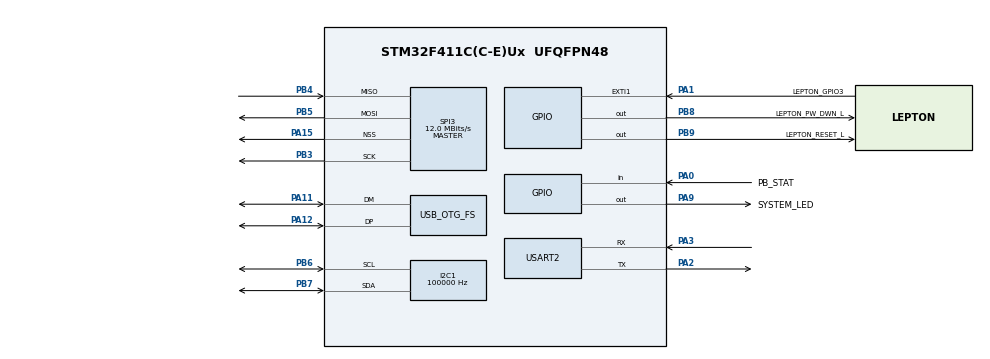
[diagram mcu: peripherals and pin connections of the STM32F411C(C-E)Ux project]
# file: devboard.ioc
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Dma.MEMTOMEM.0.Direction=DMA_MEMORY_TO_MEMORY
Dma.MEMTOMEM.0.FIFOMode=DMA_FIFOMODE_ENABLE
Dma.MEMTOMEM.0.FIFOThreshold=DMA_FIFO_THRESHOLD_FULL
Dma.MEMTOMEM.0.Instance=DMA2_Stream0
Dma.MEMTOMEM.0.MemBurst=DMA_MBURST_SINGLE
Dma.MEMTOMEM.0.MemDataAlignment=DMA_MDATAALIGN_HALFWORD
Dma.MEMTOMEM.0.MemInc=DMA_MINC_ENABLE
Dma.MEMTOMEM.0.Mode=DMA_NORMAL
Dma.MEMTOMEM.0.PeriphBurst=DMA_PBURST_SINGLE
Dma.MEMTOMEM.0.PeriphDataAlignment=DMA_PDATAALIGN_HALFWORD
Dma.MEMTOMEM.0.PeriphInc=DMA_PINC_ENABLE
Dma.MEMTOMEM.0.Priority=DMA_PRIORITY_MEDIUM
Dma.Request0=MEMTOMEM
Dma.Request1=SPI3_RX
Dma.Request2=SPI3_TX
Dma.SPI3_RX.1.Direction=DMA_PERIPH_TO_MEMORY
Dma.SPI3_RX.1.FIFOMode=DMA_FIFOMODE_DISABLE
Dma.SPI3_RX.1.Instance=DMA1_Stream0
Dma.SPI3_RX.1.MemDataAlignment=DMA_MDATAALIGN_HALFWORD
Dma.SPI3_RX.1.MemInc=DMA_MINC_ENABLE
Dma.SPI3_RX.1.Mode=DMA_NORMAL
Dma.SPI3_RX.1.PeriphDataAlignment=DMA_PDATAALIGN_HALFWORD
Dma.SPI3_RX.1.PeriphInc=DMA_PINC_DISABLE
Dma.SPI3_RX.1.Priority=DMA_PRIORITY_VERY_HIGH
Dma.SPI3_TX.2.Direction=DMA_MEMORY_TO_PERIPH
Dma.SPI3_TX.2.FIFOMode=DMA_FIFOMODE_DISABLE
Dma.SPI3_TX.2.Instance=DMA1_Stream5
Dma.SPI3_TX.2.MemDataAlignment=DMA_MDATAALIGN_HALFWORD
Dma.SPI3_TX.2.MemInc=DMA_MINC_ENABLE
Dma.SPI3_TX.2.Mode=DMA_NORMAL
Dma.SPI3_TX.2.PeriphDataAlignment=DMA_PDATAALIGN_HALFWORD
Dma.SPI3_TX.2.PeriphInc=DMA_PINC_DISABLE
Dma.SPI3_TX.2.Priority=DMA_PRIORITY_VERY_HIGH
I2C1.ClockSpeed=100000
I2C1.I2C_Mode=I2C_Fast
Mcu.Family=STM32F4
Mcu.Name=STM32F411C(C-E)Ux
Mcu.Package=UFQFPN48
NVIC.DMA1_Stream0_IRQn=true\:2\:0\:true\:false\:true\:false
NVIC.DMA1_Stream5_IRQn=true\:2\:0\:true\:false\:true\:false
NVIC.DMA2_Stream0_IRQn=true\:2\:0\:true\:false\:true\:true
NVIC.EXTI1_IRQn=true\:0\:0\:false\:false\:true\:true
NVIC.OTG_FS_IRQn=true\:0\:0\:false\:false\:true\:true
NVIC.PriorityGroup=NVIC_PRIORITYGROUP_4
PA0-WKUP.GPIO_Label=PB_STAT
PA0-WKUP.Signal=GPIO_Input
PA1.GPIO_Label=LEPTON_GPIO3
PA1.Signal=GPXTI1
PA11.Mode=Device_Only
PA11.Signal=USB_OTG_FS_DM
PA12.Mode=Device_Only
PA12.Signal=USB_OTG_FS_DP
PA13.Mode=Serial_Wire
PA13.Signal=SYS_JTMS-SWDIO
PA14.Mode=Serial_Wire
PA14.Signal=SYS_JTCK-SWCLK
PA15.Mode=NSS_Signal_Hard_Output
PA15.Signal=SPI3_NSS
PA2.Mode=Asynchronous
PA2.Signal=USART2_TX
PA3.Mode=Asynchronous
PA3.Signal=USART2_RX
PA9.GPIO_Label=SYSTEM_LED
PA9.Signal=GPIO_Output
PB3.Mode=Full_Duplex_Master
PB3.Signal=SPI3_SCK
PB4.Mode=Full_Duplex_Master
PB4.Signal=SPI3_MISO
PB5.Mode=Full_Duplex_Master
PB5.Signal=SPI3_MOSI
PB6.Mode=I2C
PB6.Signal=I2C1_SCL
PB7.Mode=I2C
PB7.Signal=I2C1_SDA
PB8.GPIO_Label=LEPTON_PW_DWN_L
PB8.Signal=GPIO_Output
PB9.GPIO_Label=LEPTON_RESET_L
PB9.Signal=GPIO_Output
PC14-OSC32_IN.Mode=LSE-External-Oscillator
PC14-OSC32_IN.Signal=RCC_OSC32_IN
PC15-OSC32_OUT.Mode=LSE-External-Oscillator
PC15-OSC32_OUT.Signal=RCC_OSC32_OUT
PH0\ -\ OSC_IN.Mode=HSE-External-Oscillator
PH0\ -\ OSC_IN.Signal=RCC_OSC_IN
PH1\ -\ OSC_OUT.Mode=HSE-External-Oscillator
PH1\ -\ OSC_OUT.Signal=RCC_OSC_OUT
ProjectManager.HeapSize=0x200
ProjectManager.StackSize=0x400
ProjectManager.TargetToolchain=SW4STM32
RCC.48MHZClocksFreq_Value=48000000
RCC.AHBFreq_Value=96000000
RCC.APB1CLKDivider=RCC_HCLK_DIV4
RCC.APB1Freq_Value=24000000
RCC.APB1TimFreq_Value=48000000
RCC.APB2Freq_Value=96000000
RCC.APB2TimFreq_Value=96000000
RCC.CortexFreq_Value=96000000
RCC.EnbaleCSS=true
RCC.HCLKFreq_Value=96000000
RCC.HSE_VALUE=16000000
RCC.HSI_VALUE=16000000
RCC.PLLM=8
RCC.PLLN=96
RCC.SYSCLKFreq_VALUE=96000000
RCC.SYSCLKSource=RCC_SYSCLKSOURCE_PLLCLK
RCC.VCOOutputFreq_Value=192000000
RCC.VDD_VALUE=2.8
SPI3.CLKPhase=SPI_PHASE_2EDGE
SPI3.CLKPolarity=SPI_POLARITY_HIGH
SPI3.CalculateBaudRate=12.0 MBits/s
SPI3.DataSize=SPI_DATASIZE_16BIT
SPI3.Direction=SPI_DIRECTION_2LINES
SPI3.Mode=SPI_MODE_MASTER
SPI3.VirtualNSS=VM_NSSHARD
SPI3.VirtualType=VM_MASTER
USART2.VirtualMode=VM_ASYNC
USB_OTG_FS.VirtualMode=Device_Only
VP_CRC_VS_CRC.Mode=CRC_Activate
board=devboard

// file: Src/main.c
/**
  ******************************************************************************
  * File Name          : main.c
  * Description        : Main program body
  ******************************************************************************
  *
  * COPYRIGHT(c) 2019 STMicroelectronics
  *
  * Redistribution and use in source and binary forms, with or without modification,
  * are permitted provided that the following conditions are met:
  *   1. Redistributions of source code must retain the above copyright notice,
  *      this list of conditions and the following disclaimer.
  *   2. Redistributions in binary form must reproduce the above copyright notice,
  *      this list of conditions and the following disclaimer in the documentation
  *      and/or other materials provided with the distribution.
  *   3. Neither the name of STMicroelectronics nor the names of its contributors
  *      may be used to endorse or promote products derived from this software
  *      without specific prior written permission.
  *
  * THIS SOFTWARE IS PROVIDED BY THE COPYRIGHT HOLDERS AND CONTRIBUTORS "AS IS"
  * AND ANY EXPRESS OR IMPLIED WARRANTIES, INCLUDING, BUT NOT LIMITED TO, THE
  * IMPLIED WARRANTIES OF MERCHANTABILITY AND FITNESS FOR A PARTICULAR PURPOSE ARE
  * DISCLAIMED. IN NO EVENT SHALL THE COPYRIGHT HOLDER OR CONTRIBUTORS BE LIABLE
  * FOR ANY DIRECT, INDIRECT, INCIDENTAL, SPECIAL, EXEMPLARY, OR CONSEQUENTIAL
  * DAMAGES (INCLUDING, BUT NOT LIMITED TO, PROCUREMENT OF SUBSTITUTE GOODS OR
  * SERVICES; LOSS OF USE, DATA, OR PROFITS; OR BUSINESS INTERRUPTION) HOWEVER
  * CAUSED AND ON ANY THEORY OF LIABILITY, WHETHER IN CONTRACT, STRICT LIABILITY,
  * OR TORT (INCLUDING NEGLIGENCE OR OTHERWISE) ARISING IN ANY WAY OUT OF THE USE
  * OF THIS SOFTWARE, EVEN IF ADVISED OF THE POSSIBILITY OF SUCH DAMAGE.
  *
  ******************************************************************************
  */
#include "stm32f4xx_hal.h"
#include "usb_device.h"

/* USER CODE BEGIN Includes */

#include <stdint.h>
#include "pt.h"
#include "lepton.h"
#include "lepton_i2c.h"
//#include "tmp007_i2c.h"
#include "usbd_uvc.h"
#include "usbd_uvc_if.h"
DMA_HandleTypeDef hdma_memtomem_dma2_stream0;

#include "tasks.h"
#include "project_config.h"

typedef enum {
	PT_BOARD_PT1,
	PT_BOARD_PT2,
	MINI_THERM_CAM
} pt_board_t;

pt_board_t pt_board;
unsigned int pt_hse_value;

/* USER CODE END Includes */

CRC_HandleTypeDef hcrc;

I2C_HandleTypeDef hi2c1;

SPI_HandleTypeDef hspi3;
DMA_HandleTypeDef hdma_spi3_rx;
DMA_HandleTypeDef hdma_spi3_tx;

UART_HandleTypeDef huart2;

DMA_HandleTypeDef hdma_memtomem_dma2_stream0;

/* USER CODE BEGIN PV */
/* Private variables ---------------------------------------------------------*/

#if defined(USART_DEBUG) || defined(GDB_SEMIHOSTING)
#define DEBUG_PRINTF(...) printf( __VA_ARGS__);
#else
#define DEBUG_PRINTF(...)
#endif

static struct pt lepton_task_pt;
static struct pt usb_task_pt;
static struct pt uart_task_pt;
static struct pt button_task_pt;
static struct pt lepton_attribute_xfer_task_pt;

/* USER CODE END PV */

void Error_Handler(void);
static void MX_GPIO_Init(void);
static void MX_DMA_Init(void);
static void MX_CRC_Init(void);
static void MX_I2C1_Init(void);
static void MX_USART2_UART_Init(void);
static void SystemClock_Config(void);
static void MX_SPI3_Init(void);

/* USER CODE BEGIN PFP */
/* Private function prototypes -----------------------------------------------*/

void board_detect();

/* USER CODE END PFP */

/* USER CODE BEGIN 0 */

#if defined(GDB_SEMIHOSTING)
extern void initialise_monitor_handles(void);
#endif

/* USER CODE END 0 */

int main(void)
{

  /* USER CODE BEGIN 1 */

  board_detect();

  /* USER CODE END 1 */

  /* MCU Configuration----------------------------------------------------------*/

  /* Reset of all peripherals, Initializes the Flash interface and the Systick. */
  HAL_Init();

  /* Configure the system clock */
  SystemClock_Config();

  /* Initialize all configured peripherals */
  MX_GPIO_Init();
  MX_DMA_Init();
  MX_CRC_Init();
  MX_I2C1_Init();
  MX_USART2_UART_Init();
  MX_SPI3_Init();
  MX_USB_DEVICE_Init();

  /* USER CODE BEGIN 2 */
#if defined(GDB_SEMIHOSTING)
  initialise_monitor_handles();
#endif

//  HAL_GPIO_WritePin(GPIOA, GPIO_PIN_8, GPIO_PIN_RESET); //LEPTON_PW_DWN_L
  HAL_GPIO_WritePin(LEPTON_PW_DWN_L_GPIO_Port, LEPTON_PW_DWN_L_Pin, GPIO_PIN_RESET);

  /*Fix RX and TX pin switch by setting the following pins */
//  HAL_GPIO_WritePin(GPIOA, GPIO_PIN_5, GPIO_PIN_SET); //ESP_CH_PD
//  HAL_GPIO_WritePin(GPIOA, GPIO_PIN_0, GPIO_PIN_SET); //ESP_GPIO2
//  HAL_GPIO_WritePin(GPIOA, GPIO_PIN_1, GPIO_PIN_SET); //ESP_GPIO0
//  HAL_GPIO_WritePin(GPIOA, GPIO_PIN_7, GPIO_PIN_SET); //ESP_RST

  // reinitialize uart with speed from config
  huart2.Init.BaudRate = USART_DEBUG_SPEED;
  HAL_UART_Init(&huart2);

  DEBUG_PRINTF("Hello, Lepton!\n\r");
  fflush(stdout);

  lepton_init();

  HAL_Delay(1000);

  init_lepton_command_interface();

#if defined(TMP007)
  DEBUG_PRINTF("reading_tmp007_regs...\n\r");

  read_tmp007_regs();
#endif

  DEBUG_PRINTF("Initialized...\n\r");

  HAL_Delay(250);

  MX_USB_DEVICE_Init();

  PT_INIT(&lepton_task_pt);
  PT_INIT(&usb_task_pt);
  PT_INIT(&uart_task_pt);
  PT_INIT(&lepton_attribute_xfer_task_pt);

  /* USER CODE END 2 */

  /* Infinite loop */
  while (1)
  {

  /* USER CODE BEGIN 3 */

	  PT_SCHEDULE(lepton_task(&lepton_task_pt));
#ifndef THERMAL_DATA_UART
	  PT_SCHEDULE(usb_task(&usb_task_pt));
#else
	  PT_SCHEDULE(uart_task(&uart_task_pt));
#endif
	  if (pt_board == PT_BOARD_PT1) {
	  PT_SCHEDULE(button_task(&button_task_pt));
	  }

	  PT_SCHEDULE(lepton_attribute_xfer_task(&lepton_attribute_xfer_task_pt));
  }
  /* USER CODE END 3 */

}

/** System Clock Configuration
*/
static void SystemClock_Config(void)
{

  RCC_OscInitTypeDef RCC_OscInitStruct;
  RCC_ClkInitTypeDef RCC_ClkInitStruct;

  __HAL_RCC_PWR_CLK_ENABLE();

  __HAL_PWR_VOLTAGESCALING_CONFIG(PWR_REGULATOR_VOLTAGE_SCALE1);

  RCC_OscInitStruct.OscillatorType = RCC_OSCILLATORTYPE_HSE;
  RCC_OscInitStruct.HSEState = RCC_HSE_ON;
  RCC_OscInitStruct.PLL.PLLState = RCC_PLL_ON;
  RCC_OscInitStruct.PLL.PLLSource = RCC_PLLSOURCE_HSE;
  if (pt_board == PT_BOARD_PT1)
  {
  	  RCC_OscInitStruct.PLL.PLLM = 11;
  	  RCC_OscInitStruct.PLL.PLLN = 295;
  	  RCC_OscInitStruct.PLL.PLLP = RCC_PLLP_DIV4;
  	  RCC_OscInitStruct.PLL.PLLQ = 8;
  }
  else if (pt_board == PT_BOARD_PT2)
  {
  	  RCC_OscInitStruct.PLL.PLLM = 4;
  	  RCC_OscInitStruct.PLL.PLLN = 96;
  	  RCC_OscInitStruct.PLL.PLLP = RCC_PLLP_DIV2;
  	  RCC_OscInitStruct.PLL.PLLQ = 4;
  }
  else //MINI_THERM_CAM
  {
	  RCC_OscInitStruct.PLL.PLLM = 8;
	  RCC_OscInitStruct.PLL.PLLN = 96;
	  RCC_OscInitStruct.PLL.PLLP = RCC_PLLP_DIV2;
	  RCC_OscInitStruct.PLL.PLLQ = 4;
  }
//  RCC_OscInitStruct.PLL.PLLM = 8;
//  RCC_OscInitStruct.PLL.PLLN = 96;
//  RCC_OscInitStruct.PLL.PLLP = RCC_PLLP_DIV2;
//  RCC_OscInitStruct.PLL.PLLQ = 4;
  if (HAL_RCC_OscConfig(&RCC_OscInitStruct) != HAL_OK)
  {
    Error_Handler();
  }

  RCC_ClkInitStruct.ClockType = RCC_CLOCKTYPE_HCLK|RCC_CLOCKTYPE_SYSCLK
                              |RCC_CLOCKTYPE_PCLK1|RCC_CLOCKTYPE_PCLK2;
  RCC_ClkInitStruct.SYSCLKSource = RCC_SYSCLKSOURCE_PLLCLK;
  RCC_ClkInitStruct.AHBCLKDivider = RCC_SYSCLK_DIV1;
  RCC_ClkInitStruct.APB1CLKDivider = RCC_HCLK_DIV4;
  RCC_ClkInitStruct.APB2CLKDivider = RCC_HCLK_DIV1;
  if (HAL_RCC_ClockConfig(&RCC_ClkInitStruct, FLASH_LATENCY_3) != HAL_OK)
  {
    Error_Handler();
  }

  HAL_RCC_EnableCSS();

  HAL_SYSTICK_Config(HAL_RCC_GetHCLKFreq()/1000);

  HAL_SYSTICK_CLKSourceConfig(SYSTICK_CLKSOURCE_HCLK);

  /* SysTick_IRQn interrupt configuration */
  HAL_NVIC_SetPriority(SysTick_IRQn, 0, 0);
}

/* CRC init function */
static void MX_CRC_Init(void)
{

  hcrc.Instance = CRC;
  if (HAL_CRC_Init(&hcrc) != HAL_OK)
  {
    Error_Handler();
  }

}

/* I2C1 init function */
static void MX_I2C1_Init(void)
{

  hi2c1.Instance = I2C1;
  hi2c1.Init.ClockSpeed = 100000;
  hi2c1.Init.DutyCycle = I2C_DUTYCYCLE_2;
  hi2c1.Init.OwnAddress1 = 0;
  hi2c1.Init.AddressingMode = I2C_ADDRESSINGMODE_7BIT;
  hi2c1.Init.DualAddressMode = I2C_DUALADDRESS_DISABLE;
  hi2c1.Init.OwnAddress2 = 0;
  hi2c1.Init.GeneralCallMode = I2C_GENERALCALL_DISABLE;
  hi2c1.Init.NoStretchMode = I2C_NOSTRETCH_DISABLE;
  if (HAL_I2C_Init(&hi2c1) != HAL_OK)
  {
    Error_Handler();
  }

}

/* SPI3 init function */
static void MX_SPI3_Init(void)
{

  hspi3.Instance = SPI3;
  hspi3.Init.Mode = SPI_MODE_MASTER;
  hspi3.Init.Direction = SPI_DIRECTION_2LINES;
  hspi3.Init.DataSize = SPI_DATASIZE_16BIT;
  hspi3.Init.CLKPolarity = SPI_POLARITY_HIGH;
  hspi3.Init.CLKPhase = SPI_PHASE_2EDGE;
  hspi3.Init.NSS = SPI_NSS_HARD_OUTPUT;
  hspi3.Init.BaudRatePrescaler = SPI_BAUDRATEPRESCALER_2;
  hspi3.Init.FirstBit = SPI_FIRSTBIT_MSB;
  hspi3.Init.TIMode = SPI_TIMODE_DISABLE;
  hspi3.Init.CRCCalculation = SPI_CRCCALCULATION_DISABLE;
  hspi3.Init.CRCPolynomial = 10;
  if (HAL_SPI_Init(&hspi3) != HAL_OK)
  {
    Error_Handler();
  }

}

/* USART2 init function */
static void MX_USART2_UART_Init(void)
{

  huart2.Instance = USART2;
  huart2.Init.BaudRate = 115200;
  huart2.Init.WordLength = UART_WORDLENGTH_8B;
  huart2.Init.StopBits = UART_STOPBITS_1;
  huart2.Init.Parity = UART_PARITY_NONE;
  huart2.Init.Mode = UART_MODE_TX_RX;
  huart2.Init.HwFlowCtl = UART_HWCONTROL_NONE;
  huart2.Init.OverSampling = UART_OVERSAMPLING_16;
  if (HAL_UART_Init(&huart2) != HAL_OK)
  {
    Error_Handler();
  }

}

static void MX_DMA_Init(void)
{
  /* DMA controller clock enable */
  __HAL_RCC_DMA2_CLK_ENABLE();
  __HAL_RCC_DMA1_CLK_ENABLE();

  /* Configure DMA request hdma_memtomem_dma2_stream0 on DMA2_Stream0 */
  hdma_memtomem_dma2_stream0.Instance = DMA2_Stream0;
  hdma_memtomem_dma2_stream0.Init.Channel = DMA_CHANNEL_0;
  hdma_memtomem_dma2_stream0.Init.Direction = DMA_MEMORY_TO_MEMORY;
  hdma_memtomem_dma2_stream0.Init.PeriphInc = DMA_PINC_ENABLE;
  hdma_memtomem_dma2_stream0.Init.MemInc = DMA_MINC_ENABLE;
  hdma_memtomem_dma2_stream0.Init.PeriphDataAlignment = DMA_PDATAALIGN_HALFWORD;
  hdma_memtomem_dma2_stream0.Init.MemDataAlignment = DMA_MDATAALIGN_HALFWORD;
  hdma_memtomem_dma2_stream0.Init.Mode = DMA_NORMAL;
  hdma_memtomem_dma2_stream0.Init.Priority = DMA_PRIORITY_MEDIUM;
  hdma_memtomem_dma2_stream0.Init.FIFOMode = DMA_FIFOMODE_ENABLE;
  hdma_memtomem_dma2_stream0.Init.FIFOThreshold = DMA_FIFO_THRESHOLD_FULL;
  hdma_memtomem_dma2_stream0.Init.MemBurst = DMA_MBURST_SINGLE;
  hdma_memtomem_dma2_stream0.Init.PeriphBurst = DMA_PBURST_SINGLE;
  if (HAL_DMA_Init(&hdma_memtomem_dma2_stream0) != HAL_OK)
  {
    Error_Handler();
  }

  /* DMA interrupt init */
  /* DMA1_Stream0_IRQn interrupt configuration */
  HAL_NVIC_SetPriority(DMA1_Stream0_IRQn, 2, 0);
  HAL_NVIC_EnableIRQ(DMA1_Stream0_IRQn);
  /* DMA1_Stream5_IRQn interrupt configuration */
  HAL_NVIC_SetPriority(DMA1_Stream5_IRQn, 2, 0);
  HAL_NVIC_EnableIRQ(DMA1_Stream5_IRQn);
  /* DMA2_Stream0_IRQn interrupt configuration */
  HAL_NVIC_SetPriority(DMA2_Stream0_IRQn, 2, 0);
  HAL_NVIC_EnableIRQ(DMA2_Stream0_IRQn);

}

/** Configure pins as
        * Analog
        * Input
        * Output
        * EVENT_OUT
        * EXTI
*/
static void MX_GPIO_Init(void)
{

  GPIO_InitTypeDef GPIO_InitStruct;

  /* GPIO Ports Clock Enable */
  __HAL_RCC_GPIOC_CLK_ENABLE();
  __HAL_RCC_GPIOH_CLK_ENABLE();
  __HAL_RCC_GPIOA_CLK_ENABLE();
  __HAL_RCC_GPIOB_CLK_ENABLE();

  /*Configure GPIO pin Output Level */
  HAL_GPIO_WritePin(SYSTEM_LED_GPIO_Port, SYSTEM_LED_Pin, GPIO_PIN_RESET);

  /*Configure GPIO pin Output Level */
  HAL_GPIO_WritePin(GPIOB, LEPTON_PW_DWN_L_Pin|LEPTON_RESET_L_Pin, GPIO_PIN_RESET);

  /*Configure GPIO pin : PB_STAT_Pin */
  GPIO_InitStruct.Pin = PB_STAT_Pin;
  GPIO_InitStruct.Mode = GPIO_MODE_INPUT;
  GPIO_InitStruct.Pull = GPIO_NOPULL;
  HAL_GPIO_Init(PB_STAT_GPIO_Port, &GPIO_InitStruct);

  /*Configure GPIO pin : LEPTON_GPIO3_Pin */
  GPIO_InitStruct.Pin = LEPTON_GPIO3_Pin;
  GPIO_InitStruct.Mode = GPIO_MODE_IT_RISING;
  GPIO_InitStruct.Pull = GPIO_NOPULL;
  HAL_GPIO_Init(LEPTON_GPIO3_GPIO_Port, &GPIO_InitStruct);

  /*Configure GPIO pin : SYSTEM_LED_Pin */
  GPIO_InitStruct.Pin = SYSTEM_LED_Pin;
  GPIO_InitStruct.Mode = GPIO_MODE_OUTPUT_PP;
  GPIO_InitStruct.Pull = GPIO_NOPULL;
  GPIO_InitStruct.Speed = GPIO_SPEED_FREQ_LOW;
  HAL_GPIO_Init(SYSTEM_LED_GPIO_Port, &GPIO_InitStruct);

  /*Configure GPIO pins : LEPTON_PW_DWN_L_Pin LEPTON_RESET_L_Pin */
  GPIO_InitStruct.Pin = LEPTON_PW_DWN_L_Pin|LEPTON_RESET_L_Pin;
  GPIO_InitStruct.Mode = GPIO_MODE_OUTPUT_PP;
  GPIO_InitStruct.Pull = GPIO_NOPULL;
  GPIO_InitStruct.Speed = GPIO_SPEED_FREQ_LOW;
  HAL_GPIO_Init(GPIOB, &GPIO_InitStruct);

  /* EXTI interrupt init*/
  HAL_NVIC_SetPriority(EXTI1_IRQn, 0, 0);
  HAL_NVIC_EnableIRQ(EXTI1_IRQn);

}

/* USER CODE BEGIN 4 */

void board_detect()
{
//	int gpioval;
//	GPIO_InitTypeDef GPIO_InitStruct;

//	__HAL_RCC_GPIOB_CLK_ENABLE();

	/* Set pb4 to a low output on power up, then right after flip to an input without pull-up.
	 * The line is floating on pt1 and it will read 0
	 * It is externally pulled up on pt2 and will read 1 */

//	GPIO_InitStruct.Pin = GPIO_PIN_4;
//	GPIO_InitStruct.Mode = GPIO_MODE_OUTPUT_PP;
//	GPIO_InitStruct.Pull = GPIO_NOPULL;
//	HAL_GPIO_Init(GPIOB, &GPIO_InitStruct);
//
//	HAL_GPIO_WritePin(GPIOB, GPIO_PIN_4, GPIO_PIN_RESET);
//
//	GPIO_InitStruct.Pin = GPIO_PIN_4;
//	GPIO_InitStruct.Mode = GPIO_MODE_INPUT;
//	GPIO_InitStruct.Pull = GPIO_NOPULL;
//	HAL_GPIO_Init(GPIOB, &GPIO_InitStruct);
//
//	gpioval = HAL_GPIO_ReadPin(GPIOB, GPIO_PIN_4);
//
//	/* what board do we have? */
//	pt_board = (gpioval ? PT_BOARD_PT2 : PT_BOARD_PT1);

	pt_board = MINI_THERM_CAM;

	/* set the hse value for that board */
	switch (pt_board) {
	case PT_BOARD_PT1:
		pt_hse_value = 14318182U;
		break;
	case MINI_THERM_CAM:
		pt_hse_value = 16000000U;
	case PT_BOARD_PT2:
	default:
		pt_hse_value = 8000000U;
		break;
	}
}

/* USER CODE END 4 */

void Error_Handler(void)
{
  while(1)
  {
  }
}

/************************ (C) COPYRIGHT STMicroelectronics *****END OF FILE****/
